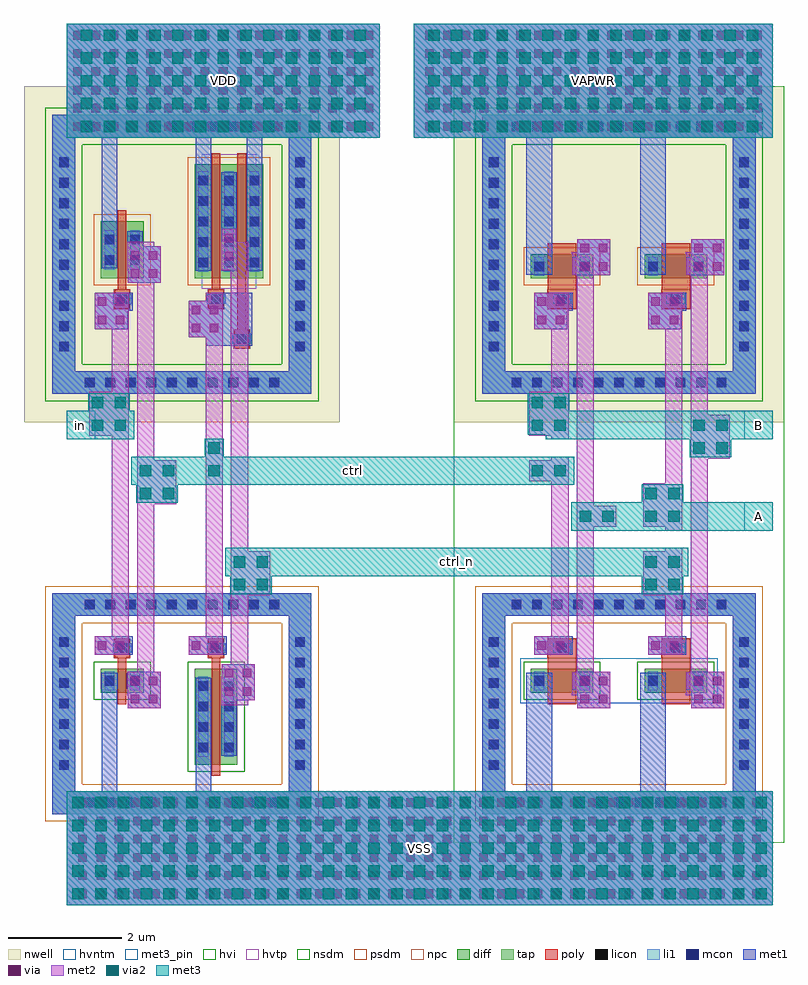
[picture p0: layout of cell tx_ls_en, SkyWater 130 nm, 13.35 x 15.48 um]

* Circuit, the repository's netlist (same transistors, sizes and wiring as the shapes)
* tx_ls_en: xschem/tx_ls.sch with {'kn': 1, 'kp': 1, 'wpi': 1, 'wni': 0.42} (layout/gen/tx_ls.py)
** sch_path: /foss/designs/shuttle-ttsky26c/asic-radio/xschem/tx_ls.sch
.subckt tx_ls_en in A B VDD VAPWR VSS
*.PININFO VDD:B VAPWR:B VSS:B in:B A:B B:B
XMi1p ctrl in VDD VDD sky130_fd_pr__pfet_01v8 L=0.15 W=1 nf=1
XMi1n ctrl in VSS VSS sky130_fd_pr__nfet_01v8 L=0.15 W=0.42 nf=1
XM8 ctrl_n ctrl VDD VDD sky130_fd_pr__pfet_01v8_hvt L=0.15 W=4 nf=1
XM7 ctrl_n ctrl VSS VSS sky130_fd_pr__nfet_01v8 L=0.15 W=1.68 nf=1
XM9 A ctrl VSS VSS sky130_fd_pr__nfet_g5v0d10v5 L=0.5 W=0.42 nf=1
XM10 B ctrl_n VSS VSS sky130_fd_pr__nfet_g5v0d10v5 L=0.5 W=0.42 nf=1
XM11 A B VAPWR VAPWR sky130_fd_pr__pfet_g5v0d10v5 L=0.5 W=0.42 nf=1
XM12 B A VAPWR VAPWR sky130_fd_pr__pfet_g5v0d10v5 L=0.5 W=0.42 nf=1
.ends

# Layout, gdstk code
import gdstk
lib = gdstk.Library(unit=1e-6, precision=1e-09)
def R(c, l, rs):  # rectangles x0, y0, x1, y1
    for r in rs: c.add(gdstk.rectangle(r[:2], r[2:], *l))
def A(c, l, x, y, w, h, nx, ny, dx, dy):  # array of equal rectangles
    R(c, l, [(x+i*dx, y+j*dy, x+i*dx+w, y+j*dy+h) for i in range(nx) for j in range(ny)])
def P(c, l, *ps):  # polygons
    for p in ps: c.add(gdstk.Polygon(p, *l))
nwell = (64, 20)
diff = (65, 20)
tap = (65, 44)
poly = (66, 20)
licon = (66, 44)
li1 = (67, 20)
mcon = (67, 44)
met1 = (68, 20)
via = (68, 44)
met2 = (69, 20)
via2 = (69, 44)
met3_pin = (70, 16)
met3 = (70, 20)
hvi = (75, 20)
hvtp = (78, 44)
nsdm = (93, 44)
psdm = (94, 20)
npc = (95, 20)
hvntm = (125, 20)

tx_ls_en = lib.new_cell('tx_ls_en')
R(tx_ls_en, nwell, [(-0.75,1.25,4.8,7.15), (6.8,1.25,12.6,7.15), (1.945,2.36,3.755,6.16), (7.685,2.9,9.715,4.74), (9.685,2.9,11.715,4.74), (0.295,3.06,1.655,5.16)])
R(tx_ls_en, diff, [(2.25,-4.76,3,-3.08), (0.6,-3.5,1.35,-3.08), (8.15,-3.5,9.25,-3.08), (10.15,-3.5,11.25,-3.08), (0.6,3.78,1.35,4.78), (2.25,3.78,3.45,5.78), (8.15,3.78,9.25,4.2), (10.15,3.78,11.25,4.2)])
P(tx_ls_en, tap, [(-0.25,1.75),(-0.25,6.25),(0.15,6.25),(0.15,2.15),(3.9,2.15),(3.9,6.25),(-0.25,6.25),(-0.25,6.65),(4.3,6.65),(4.3,1.75)],
  [(-0.25,-5.63),(-0.25,-2.15),(0.15,-2.15),(0.15,-5.23),(3.9,-5.23),(3.9,-2.15),(-0.25,-2.15),(-0.25,-1.75),(4.3,-1.75),(4.3,-5.63)],
  [(7.3,1.75),(7.3,6.25),(7.7,6.25),(7.7,2.15),(11.7,2.15),(11.7,6.25),(7.3,6.25),(7.3,6.65),(12.1,6.65),(12.1,1.75)],
  [(7.3,-5.63),(7.3,-2.15),(7.7,-2.15),(7.7,-5.23),(11.7,-5.23),(11.7,-2.15),(7.3,-2.15),(7.3,-1.75),(12.1,-1.75),(12.1,-5.63)])
R(tx_ls_en, poly, [(2.55,-4.96,2.7,-2.88), (0.9,-3.7,1.05,-2.88), (8.45,-3.7,8.95,-2.88), (10.45,-3.7,10.95,-2.88), (0.84,-2.88,1.11,-2.55), (2.49,-2.88,2.76,-2.55), (8.45,-2.88,8.95,-2.55), (10.45,-2.88,10.95,-2.55), (2.94,2.55,3.21,2.88), (3,2.88,3.15,5.98), (0.84,3.25,1.11,3.58), (2.49,3.25,2.76,3.58), (8.45,3.25,8.95,3.58), (10.45,3.25,10.95,3.58), (0.9,3.58,1.05,4.98), (2.55,3.58,2.7,5.98), (8.45,3.58,8.95,4.4), (10.45,3.58,10.95,4.4)])
A(tx_ls_en, licon, 0.32, -5.515, 0.17, 0.17, 10, 2, 0.36, 3.48)
A(tx_ls_en, licon, 7.815, -5.515, 0.17, 0.17, 11, 2, 0.36, 3.48)
A(tx_ls_en, licon, -0.135, -4.855, 0.17, 0.17, 1, 7, 0, 0.36)
A(tx_ls_en, licon, 4.015, -4.855, 0.17, 0.17, 1, 7, 0, 0.36)
A(tx_ls_en, licon, 7.415, -4.855, 0.17, 0.17, 1, 7, 0, 0.36)
A(tx_ls_en, licon, 11.815, -4.855, 0.17, 0.17, 1, 7, 0, 0.36)
A(tx_ls_en, licon, 2.315, -4.545, 0.17, 0.17, 1, 4, 0, 0.36)
A(tx_ls_en, licon, 2.765, -4.545, 0.17, 0.17, 1, 4, 0, 0.36)
A(tx_ls_en, licon, 0.32, 1.865, 0.17, 0.17, 10, 2, 0.36, 4.5)
A(tx_ls_en, licon, 7.815, 1.865, 0.17, 0.17, 11, 2, 0.36, 4.5)
A(tx_ls_en, licon, -0.135, 2.495, 0.17, 0.17, 1, 10, 0, 0.36)
A(tx_ls_en, licon, 4.015, 2.495, 0.17, 0.17, 1, 10, 0, 0.36)
A(tx_ls_en, licon, 7.415, 2.495, 0.17, 0.17, 1, 10, 0, 0.36)
A(tx_ls_en, licon, 11.815, 2.495, 0.17, 0.17, 1, 10, 0, 0.36)
A(tx_ls_en, licon, 2.315, 3.975, 0.17, 0.17, 3, 5, 0.45, 0.36)
R(tx_ls_en, licon, [(0.665,-3.375,0.835,-3.205), (1.115,-3.375,1.285,-3.205), (8.215,-3.375,8.385,-3.205), (9.015,-3.375,9.185,-3.205), (10.215,-3.375,10.385,-3.205), (11.015,-3.375,11.185,-3.205), (0.89,-2.8,1.06,-2.63), (2.54,-2.8,2.71,-2.63), (8.615,-2.8,8.785,-2.63), (10.615,-2.8,10.785,-2.63), (2.99,2.63,3.16,2.8), (0.89,3.33,1.06,3.5), (2.54,3.33,2.71,3.5), (8.615,3.33,8.785,3.5), (10.615,3.33,10.785,3.5), (8.215,3.905,8.385,4.075), (9.015,3.905,9.185,4.075), (10.215,3.905,10.385,4.075), (11.015,3.905,11.185,4.075), (0.665,4.015,0.835,4.185), (1.115,4.015,1.285,4.185), (0.665,4.375,0.835,4.545), (1.115,4.375,1.285,4.545)])
A(tx_ls_en, li1, 2.315, 3.895, 0.17, 1.77, 3, 1, 0.45, 0)
R(tx_ls_en, li1, [(2.315,-4.625,2.485,-3.215), (2.765,-4.625,2.935,-3.215), (0.665,-3.455,0.835,-3.125), (1.115,-3.455,1.285,-3.125), (8.215,-3.455,8.385,-3.125), (9.015,-3.455,9.185,-3.125), (10.215,-3.455,10.385,-3.125), (11.015,-3.455,11.185,-3.125), (0.81,-2.8,1.14,-2.63), (2.46,-2.8,2.79,-2.63), (8.535,-2.8,8.865,-2.63), (10.535,-2.8,10.865,-2.63), (2.91,2.63,3.24,2.8), (0.81,3.33,1.14,3.5), (2.46,3.33,2.79,3.5), (8.535,3.33,8.865,3.5), (10.535,3.33,10.865,3.5), (8.215,3.825,8.385,4.155), (9.015,3.825,9.185,4.155), (10.215,3.825,10.385,4.155), (11.015,3.825,11.185,4.155), (0.665,3.935,0.835,4.625), (1.115,3.935,1.285,4.625)])
P(tx_ls_en, li1, [(-0.25,1.75),(-0.25,6.25),(0.15,6.25),(0.15,2.15),(3.9,2.15),(3.9,6.25),(-0.25,6.25),(-0.25,6.65),(4.3,6.65),(4.3,1.75)],
  [(-0.25,-5.63),(-0.25,-2.15),(0.15,-2.15),(0.15,-5.23),(3.9,-5.23),(3.9,-2.15),(-0.25,-2.15),(-0.25,-1.75),(4.3,-1.75),(4.3,-5.63)],
  [(7.3,1.75),(7.3,6.25),(7.7,6.25),(7.7,2.15),(11.7,2.15),(11.7,6.25),(7.3,6.25),(7.3,6.65),(12.1,6.65),(12.1,1.75)],
  [(7.3,-5.63),(7.3,-2.15),(7.7,-2.15),(7.7,-5.23),(11.7,-5.23),(11.7,-2.15),(7.3,-2.15),(7.3,-1.75),(12.1,-1.75),(12.1,-5.63)])
A(tx_ls_en, mcon, 0.32, -5.515, 0.17, 0.17, 10, 2, 0.36, 3.48)
A(tx_ls_en, mcon, 7.815, -5.515, 0.17, 0.17, 11, 2, 0.36, 3.48)
A(tx_ls_en, mcon, -0.135, -4.855, 0.17, 0.17, 1, 7, 0, 0.36)
A(tx_ls_en, mcon, 4.015, -4.855, 0.17, 0.17, 1, 7, 0, 0.36)
A(tx_ls_en, mcon, 7.415, -4.855, 0.17, 0.17, 1, 7, 0, 0.36)
A(tx_ls_en, mcon, 11.815, -4.855, 0.17, 0.17, 1, 7, 0, 0.36)
A(tx_ls_en, mcon, 2.315, -4.545, 0.17, 0.17, 1, 4, 0, 0.36)
A(tx_ls_en, mcon, 2.765, -4.545, 0.17, 0.17, 1, 4, 0, 0.36)
A(tx_ls_en, mcon, 0.32, 1.865, 0.17, 0.17, 10, 2, 0.36, 4.5)
A(tx_ls_en, mcon, 7.815, 1.865, 0.17, 0.17, 11, 2, 0.36, 4.5)
A(tx_ls_en, mcon, -0.135, 2.495, 0.17, 0.17, 1, 10, 0, 0.36)
A(tx_ls_en, mcon, 4.015, 2.495, 0.17, 0.17, 1, 10, 0, 0.36)
A(tx_ls_en, mcon, 7.415, 2.495, 0.17, 0.17, 1, 10, 0, 0.36)
A(tx_ls_en, mcon, 11.815, 2.495, 0.17, 0.17, 1, 10, 0, 0.36)
A(tx_ls_en, mcon, 2.315, 3.975, 0.17, 0.17, 3, 5, 0.45, 0.36)
R(tx_ls_en, mcon, [(0.665,-3.375,0.835,-3.205), (1.115,-3.375,1.285,-3.205), (8.215,-3.375,8.385,-3.205), (9.015,-3.375,9.185,-3.205), (10.215,-3.375,10.385,-3.205), (11.015,-3.375,11.185,-3.205), (0.89,-2.8,1.06,-2.63), (2.54,-2.8,2.71,-2.63), (8.615,-2.8,8.785,-2.63), (10.615,-2.8,10.785,-2.63), (2.99,2.63,3.16,2.8), (0.89,3.33,1.06,3.5), (2.54,3.33,2.71,3.5), (8.615,3.33,8.785,3.5), (10.615,3.33,10.785,3.5), (8.215,3.905,8.385,4.075), (9.015,3.905,9.185,4.075), (10.215,3.905,10.385,4.075), (11.015,3.905,11.185,4.075), (0.665,4.015,0.835,4.185), (1.115,4.015,1.285,4.185), (0.665,4.375,0.835,4.545), (1.115,4.375,1.285,4.545)])
A(tx_ls_en, met1, 2.285, 3.915, 0.23, 1.73, 3, 1, 0.45, 0)
R(tx_ls_en, met1, [(0,-7.23,12.4,-5.23), (0.615,-5.63,0.885,-3.145), (2.265,-5.63,2.535,-3.235), (8.075,-5.63,8.525,-3.145), (10.075,-5.63,10.525,-3.145), (2.285,-4.605,2.515,-3.235), (2.715,-4.605,2.985,-3.235), (2.735,-4.605,2.965,-3.235), (1.065,-3.45,1.335,-3.13), (8.875,-3.45,9.325,-3.13), (10.875,-3.45,11.325,-3.13), (0.605,-3.435,0.895,-3.145), (1.055,-3.435,1.345,-3.145), (1.065,-3.435,1.335,-3.145), (8.155,-3.435,8.445,-3.145), (8.875,-3.435,9.325,-3.145), (8.955,-3.435,9.245,-3.145), (10.155,-3.435,10.445,-3.145), (10.875,-3.435,11.325,-3.145), (10.955,-3.435,11.245,-3.145), (0.49,-2.83,0.79,-2.51), (0.79,-2.83,1.16,-2.6), (0.79,-2.83,1.16,-2.51), (2.14,-2.83,2.44,-2.51), (2.44,-2.83,2.81,-2.6), (2.44,-2.83,2.81,-2.51), (8.215,-2.83,8.515,-2.51), (8.515,-2.83,8.885,-2.6), (8.515,-2.83,8.885,-2.51), (10.215,-2.83,10.515,-2.51), (10.515,-2.83,10.885,-2.6), (10.515,-2.83,10.885,-2.51), (2.44,2.6,3.26,3.53), (2.89,2.6,3.26,2.83), (2.14,2.745,2.44,3.385), (0.79,3.21,1.16,3.53), (8.515,3.21,8.885,3.53), (10.515,3.21,10.885,3.53), (0.79,3.3,1.16,3.53), (2.44,3.3,2.81,3.53), (8.515,3.3,8.885,3.53), (10.515,3.3,10.885,3.53), (8.875,3.83,9.325,4.15), (10.875,3.83,11.325,4.15), (8.075,3.845,8.525,6.65), (8.155,3.845,8.445,4.135), (8.875,3.845,9.325,4.135), (8.955,3.845,9.245,4.135), (10.075,3.845,10.525,6.65), (10.155,3.845,10.445,4.135), (10.875,3.845,11.325,4.135), (10.955,3.845,11.245,4.135), (2.265,3.915,2.535,6.65), (2.715,3.915,2.985,5.645), (3.165,3.915,3.435,6.65), (0.615,3.955,0.885,6.65), (0.635,3.955,0.865,4.605), (1.065,3.955,1.335,4.605), (1.085,3.955,1.315,4.605), (0,6.25,5.5,8.25), (6.1,6.25,12.4,8.25)])
P(tx_ls_en, met1, [(-0.25,1.75),(-0.25,6.25),(0.15,6.25),(0.15,2.15),(3.9,2.15),(3.9,6.25),(-0.25,6.25),(-0.25,6.65),(4.3,6.65),(4.3,1.75)],
  [(-0.25,-5.63),(-0.25,-2.15),(0.15,-2.15),(0.15,-5.23),(3.9,-5.23),(3.9,-2.15),(-0.25,-2.15),(-0.25,-1.75),(4.3,-1.75),(4.3,-5.63)],
  [(7.3,1.75),(7.3,6.25),(7.7,6.25),(7.7,2.15),(11.7,2.15),(11.7,6.25),(7.3,6.25),(7.3,6.65),(12.1,6.65),(12.1,1.75)],
  [(7.3,-5.63),(7.3,-2.15),(7.7,-2.15),(7.7,-5.23),(11.7,-5.23),(11.7,-2.15),(7.3,-2.15),(7.3,-1.75),(12.1,-1.75),(12.1,-5.63)],
  [(2.985,-3.635),(2.985,-3.235),(2.72,-3.235),(2.72,-2.995),(3.3,-2.995),(3.3,-3.635)],
  [(1.07,-3.77),(1.07,-3.45),(1.335,-3.45),(1.335,-3.435),(1.345,-3.435),(1.345,-3.145),(1.335,-3.145),(1.335,-3.13),(1.65,-3.13),(1.65,-3.77)],
  [(8.97,-3.77),(8.97,-3.45),(9.325,-3.45),(9.325,-3.13),(9.55,-3.13),(9.55,-3.77)],
  [(10.97,-3.77),(10.97,-3.45),(11.325,-3.45),(11.325,-3.13),(11.55,-3.13),(11.55,-3.77)],
  [(0.49,2.89),(0.49,3.53),(0.79,3.53),(0.79,3.21),(1.07,3.21),(1.07,2.89)],
  [(8.215,2.89),(8.215,3.53),(8.515,3.53),(8.515,3.21),(8.795,3.21),(8.795,2.89)],
  [(10.215,2.89),(10.215,3.53),(10.515,3.53),(10.515,3.21),(10.795,3.21),(10.795,2.89)],
  [(9.325,3.83),(9.325,4.15),(8.97,4.15),(8.97,4.47),(9.55,4.47),(9.55,3.83)],
  [(11.325,3.83),(11.325,4.15),(10.97,4.15),(10.97,4.47),(11.55,4.47),(11.55,3.83)],
  [(1.07,3.705),(1.07,3.955),(1.335,3.955),(1.335,4.345),(1.65,4.345),(1.65,3.705)])
A(tx_ls_en, via, 0.205, -7.105, 0.15, 0.15, 38, 6, 0.32, 0.32)
A(tx_ls_en, via, 0.115, 6.375, 0.15, 0.15, 17, 6, 0.32, 0.32)
A(tx_ls_en, via, 6.295, 6.375, 0.15, 0.15, 19, 6, 0.32, 0.32)
R(tx_ls_en, via, [(1.125,-3.685,1.275,-3.535), (1.445,-3.685,1.595,-3.535), (9.025,-3.685,9.175,-3.535), (9.345,-3.685,9.495,-3.535), (11.025,-3.685,11.175,-3.535), (11.345,-3.685,11.495,-3.535), (2.775,-3.55,2.925,-3.4), (3.095,-3.55,3.245,-3.4), (1.125,-3.365,1.275,-3.215), (1.445,-3.365,1.595,-3.215), (9.025,-3.365,9.175,-3.215), (9.345,-3.365,9.495,-3.215), (11.025,-3.365,11.175,-3.215), (11.345,-3.365,11.495,-3.215), (2.775,-3.23,2.925,-3.08), (3.095,-3.23,3.245,-3.08), (0.545,-2.745,0.695,-2.595), (0.865,-2.745,1.015,-2.595), (2.195,-2.745,2.345,-2.595), (2.515,-2.745,2.665,-2.595), (8.27,-2.745,8.42,-2.595), (8.59,-2.745,8.74,-2.595), (10.27,-2.745,10.42,-2.595), (10.59,-2.745,10.74,-2.595), (2.195,2.83,2.345,2.98), (2.515,2.83,2.665,2.98), (0.545,2.975,0.695,3.125), (0.865,2.975,1.015,3.125), (8.27,2.975,8.42,3.125), (8.59,2.975,8.74,3.125), (10.27,2.975,10.42,3.125), (10.59,2.975,10.74,3.125), (2.195,3.15,2.345,3.3), (2.515,3.15,2.665,3.3), (0.545,3.295,0.695,3.445), (0.865,3.295,1.015,3.445), (8.27,3.295,8.42,3.445), (8.59,3.295,8.74,3.445), (10.27,3.295,10.42,3.445), (10.59,3.295,10.74,3.445), (1.125,3.79,1.275,3.94), (1.445,3.79,1.595,3.94), (9.025,3.915,9.175,4.065), (9.345,3.915,9.495,4.065), (11.025,3.915,11.175,4.065), (11.345,3.915,11.495,4.065), (2.775,4.095,2.925,4.245), (1.125,4.11,1.275,4.26), (1.445,4.11,1.595,4.26), (9.025,4.235,9.175,4.385), (9.345,4.235,9.495,4.385), (11.025,4.235,11.175,4.385), (11.345,4.235,11.495,4.385), (2.775,4.415,2.925,4.565)])
R(tx_ls_en, met2, [(0,-7.23,12.4,-5.23), (2.715,-3.72,3.185,-3.22), (3.185,-3.635,3.3,-2.995), (1.065,-3.54,1.535,-3.13), (8.875,-3.54,9.325,-3.13), (10.875,-3.54,11.325,-3.13), (2.72,-3.22,2.885,-2.995), (2.885,-3.22,3.185,-0.95), (1.235,-3.13,1.535,0.65), (8.96,-3.13,9.26,-0.15), (10.96,-3.13,11.26,1.45), (0.49,-2.83,0.79,-2.51), (0.79,-2.83,1.09,1.45), (2.14,-2.83,2.44,-2.51), (2.44,-2.83,2.74,0.65), (8.215,-2.83,8.515,-2.51), (8.515,-2.83,8.815,0.65), (10.215,-2.83,10.515,-2.51), (10.515,-2.83,10.815,-0.95), (3.185,-1.785,3.575,-1.015), (10.125,-1.785,10.515,-1.015), (2.885,-1.45,3.185,3.92), (8.96,-0.65,9.26,3.83), (10.515,-0.65,10.815,3.53), (9.26,-0.585,9.65,-0.215), (10.125,-0.585,10.515,0.185), (1.535,-0.185,1.925,0.585), (1.235,0.15,1.535,3.92), (2.44,0.15,2.74,3.53), (8.125,0.215,8.515,0.585), (11.26,0.615,11.65,1.385), (0.79,0.95,1.09,3.53), (8.515,0.95,8.815,3.53), (10.96,0.95,11.26,3.83), (0.4,1.015,0.79,1.785), (8.125,1.015,8.515,1.785), (2.14,2.745,2.44,3.385), (0.49,2.89,0.79,3.53), (8.215,2.89,8.515,3.53), (10.215,2.89,10.515,3.53), (1.07,3.705,1.235,3.92), (1.535,3.705,1.65,4.345), (8.875,3.83,9.325,4.24), (10.875,3.83,11.325,4.24), (1.065,3.92,1.535,4.42), (2.715,3.92,3.185,4.42), (2.72,4.42,2.98,4.65), (0,6.25,5.5,8.25), (6.1,6.25,12.4,8.25)])
P(tx_ls_en, met2, [(1.07,-3.77),(1.07,-3.54),(1.535,-3.54),(1.535,-3.13),(1.65,-3.13),(1.65,-3.77)],
  [(8.97,-3.77),(8.97,-3.54),(9.325,-3.54),(9.325,-3.13),(9.55,-3.13),(9.55,-3.77)],
  [(10.97,-3.77),(10.97,-3.54),(11.325,-3.54),(11.325,-3.13),(11.55,-3.13),(11.55,-3.77)],
  [(9.325,3.83),(9.325,4.24),(8.97,4.24),(8.97,4.47),(9.55,4.47),(9.55,3.83)],
  [(11.325,3.83),(11.325,4.24),(10.97,4.24),(10.97,4.47),(11.55,4.47),(11.55,3.83)])
A(tx_ls_en, via2, 0.1, -7.13, 0.2, 0.2, 31, 5, 0.4, 0.4)
A(tx_ls_en, via2, 0.25, 6.35, 0.2, 0.2, 13, 5, 0.4, 0.4)
A(tx_ls_en, via2, 6.35, 6.35, 0.2, 0.2, 15, 5, 0.4, 0.4)
R(tx_ls_en, via2, [(2.935,-1.7,3.135,-1.5), (3.335,-1.7,3.535,-1.5), (10.165,-1.7,10.365,-1.5), (10.565,-1.7,10.765,-1.5), (2.935,-1.3,3.135,-1.1), (2.935,-1.3,3.135,-1.1), (3.335,-1.3,3.535,-1.1), (10.165,-1.3,10.365,-1.1), (10.565,-1.3,10.765,-1.1), (9.01,-0.5,9.21,-0.3), (9.01,-0.5,9.21,-0.3), (9.41,-0.5,9.61,-0.3), (10.165,-0.5,10.365,-0.3), (10.565,-0.5,10.765,-0.3), (1.285,-0.1,1.485,0.1), (1.685,-0.1,1.885,0.1), (10.165,-0.1,10.365,0.1), (10.565,-0.1,10.765,0.1), (1.285,0.3,1.485,0.5), (1.285,0.3,1.485,0.5), (1.685,0.3,1.885,0.5), (2.49,0.3,2.69,0.5), (2.49,0.3,2.69,0.5), (8.165,0.3,8.365,0.5), (8.565,0.3,8.765,0.5), (2.49,0.7,2.69,0.9), (11.01,0.7,11.21,0.9), (11.41,0.7,11.61,0.9), (0.44,1.1,0.64,1.3), (0.84,1.1,1.04,1.3), (0.84,1.1,1.04,1.3), (8.165,1.1,8.365,1.3), (8.565,1.1,8.765,1.3), (11.01,1.1,11.21,1.3), (11.01,1.1,11.21,1.3), (11.41,1.1,11.61,1.3), (0.44,1.5,0.64,1.7), (0.84,1.5,1.04,1.7), (8.165,1.5,8.365,1.7), (8.565,1.5,8.765,1.7)])
R(tx_ls_en, met3_pin, [(0,-7.23,12.4,-5.23), (11.9,-0.65,12.4,-0.15), (0,0.95,0.5,1.45), (11.9,0.95,12.4,1.45), (0,6.25,5.5,8.25), (6.1,6.25,12.4,8.25)])
R(tx_ls_en, met3, [(0,-7.23,12.4,-5.23), (2.87,-1.765,3.6,-1.45), (10.1,-1.765,10.83,-1.45), (2.785,-1.45,10.915,-0.95), (8.86,-0.65,12.4,-0.15), (1.22,-0.165,1.95,0.15), (10.1,-0.15,10.83,0.165), (1.135,0.15,8.915,0.65), (10.945,0.635,11.675,0.95), (2.425,0.65,2.755,0.965), (0,0.95,1.19,1.45), (8.415,0.95,12.4,1.45), (0.375,1.45,1.105,1.765), (0,6.25,5.5,8.25), (6.1,6.25,12.4,8.25)])
P(tx_ls_en, met3, [(8.1,1.035),(8.1,1.765),(8.83,1.765),(8.83,1.45),(8.415,1.45),(8.415,1.035)])
R(tx_ls_en, hvi, [(6.8,-6.13,12.6,7.15), (7.78,-3.885,9.62,-2.355), (9.78,-3.885,11.62,-2.355), (7.685,2.9,9.715,4.74), (9.685,2.9,11.715,4.74)])
R(tx_ls_en, hvtp, [(2.37,3.6,3.33,5.96)])
R(tx_ls_en, nsdm, [(2.125,-4.885,3.125,-2.955), (0.475,-3.625,1.475,-2.955), (8.025,-3.625,9.375,-2.955), (10.025,-3.625,11.375,-2.955)])
P(tx_ls_en, nsdm, [(-0.375,1.625),(-0.375,6.125),(0.275,6.125),(0.275,2.275),(3.775,2.275),(3.775,6.125),(-0.375,6.125),(-0.375,6.775),(4.425,6.775),(4.425,1.625)],
  [(7.175,1.625),(7.175,6.125),(7.825,6.125),(7.825,2.275),(11.575,2.275),(11.575,6.125),(7.175,6.125),(7.175,6.775),(12.225,6.775),(12.225,1.625)])
R(tx_ls_en, psdm, [(0.475,3.655,1.475,4.905), (2.125,3.655,3.575,5.905), (8.025,3.655,9.375,4.325), (10.025,3.655,11.375,4.325)])
P(tx_ls_en, psdm, [(-0.375,-5.755),(-0.375,-2.275),(0.275,-2.275),(0.275,-5.105),(3.775,-5.105),(3.775,-2.275),(-0.375,-2.275),(-0.375,-1.625),(4.425,-1.625),(4.425,-5.755)],
  [(7.175,-5.755),(7.175,-2.275),(7.825,-2.275),(7.825,-5.105),(11.575,-5.105),(11.575,-2.275),(7.175,-2.275),(7.175,-1.625),(12.225,-1.625),(12.225,-5.755)])
R(tx_ls_en, npc, [(0.83,-2.89,1.12,-2.54), (2.48,-2.89,2.77,-2.54), (8.44,-2.89,8.96,-2.54), (10.44,-2.89,10.96,-2.54), (2.93,2.54,3.22,2.89), (0.83,3.24,1.12,3.59), (2.48,3.24,2.77,3.59), (8.44,3.24,8.96,3.59), (10.44,3.24,10.96,3.59)])
R(tx_ls_en, hvntm, [(7.965,-3.685,9.435,-2.895), (7.965,-3.685,11.435,-2.895), (9.965,-3.685,11.435,-2.895)])
tx_ls_en.add(gdstk.Label('VDD', (2.75,7.25), layer=70, texttype=5))
tx_ls_en.add(gdstk.Label('VAPWR', (9.25,7.25), layer=70, texttype=5))
tx_ls_en.add(gdstk.Label('VSS', (6.2,-6.23), layer=70, texttype=5))
tx_ls_en.add(gdstk.Label('in', (0.25,1.2), layer=70, texttype=5))
tx_ls_en.add(gdstk.Label('B', (12.15,1.2), layer=70, texttype=5))
tx_ls_en.add(gdstk.Label('ctrl', (5.025,0.4), layer=70, texttype=5))
tx_ls_en.add(gdstk.Label('A', (12.15,-0.4), layer=70, texttype=5))
tx_ls_en.add(gdstk.Label('ctrl_n', (6.85,-1.2), layer=70, texttype=5))

lib.write_gds('tx_ls_en.gds')
